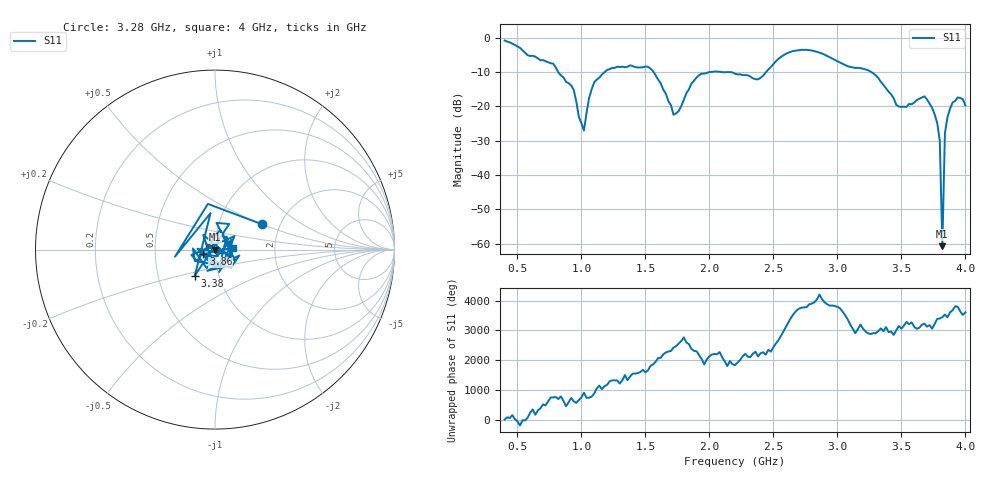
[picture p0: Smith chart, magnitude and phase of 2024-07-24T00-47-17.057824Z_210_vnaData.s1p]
!Created with skrf (http://scikit-rf.org).
# Hz S RI R 50.0
!freq ReS11 ImS11
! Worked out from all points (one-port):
!   181 points, 400 MHz to 4 GHz, reference 50 ohm
!   lowest |S11| = -60.7 dB at 3.82 GHz (marker M1), VSWR 1.00, Z = 49.9 - j0.0379 ohm
!   |S11| at or under -10 dB: 817.6 MHz to 1.183 GHz (365.2 MHz wide, 36.5 % of centre); 1.564 GHz to 2.013 GHz (449.3 MHz wide, 25.1 % of centre); 3.263 GHz to end of sweep (the widest 3 of 4)
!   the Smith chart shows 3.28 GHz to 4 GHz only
!   S11 on the Smith chart (normalised r, x): 3.28 GHz: 1.62, +0.52; 3.38 GHz: 0.77, -0.23; 3.86 GHz: 0.88, -0.05; 4 GHz: 1.23, +0.02
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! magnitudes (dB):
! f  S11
! 400 MHz  -0.8
! 780 MHz  -7.6
! 860 MHz  -11.6
! 940 MHz  -15.2
! 1.02 GHz  -27.0
! 1.06 GHz  -17.6
! 1.1 GHz  -13.1
! 1.3 GHz  -8.6
! 1.54 GHz  -9.0
! 1.72 GHz  -22.5
! 1.76 GHz  -21.4
! 1.92 GHz  -10.9
! 2.2 GHz  -10.5
! 2.38 GHz  -12.2
! 2.66 GHz  -3.9
! 3.1 GHz  -8.5
! 3.28 GHz  -10.4
! 3.38 GHz  -14.7
! 3.46 GHz  -19.6
! 3.56 GHz  -19.3
! 3.68 GHz  -17.1
! 3.78 GHz  -24.9
! 3.8 GHz  -30.1
! 3.82 GHz  -60.7
! 3.84 GHz  -27.9
! 3.86 GHz  -23.2
! 3.94 GHz  -17.4
! 4 GHz  -19.7
